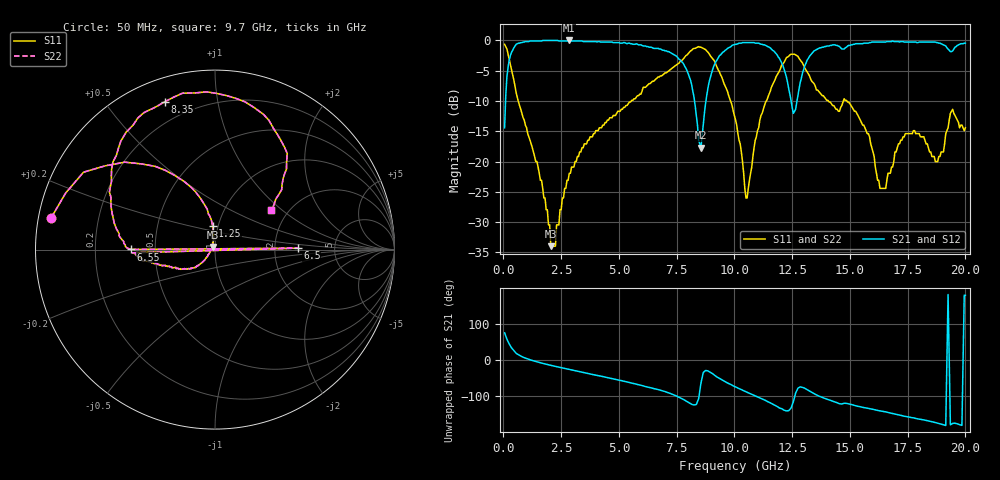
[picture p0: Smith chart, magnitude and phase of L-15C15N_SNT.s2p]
#	mhz	s	ma	r	50
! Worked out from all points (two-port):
!   400 points, 50 MHz to 20 GHz, reference 50 ohm
!   highest |S21| = 0.00 dB at 2.85 GHz (marker M1); lowest = -17.7 dB at 8.55 GHz (marker M2)
!   |S21| within 3 dB of the highest: 265.4 MHz to 7.58 GHz (7.315 GHz wide, 186 % of centre); 13.19 GHz to end of sweep (the widest 2 of 3)
!   lowest |S11| = -34.0 dB at 2.05 GHz (marker M3), VSWR 1.04, Z = 48.7 + j1.47 ohm
!   |S11| at or under -10 dB: 639.2 MHz to 5.531 GHz (4.892 GHz wide, 159 % of centre); 9.834 GHz to 11.38 GHz (1.547 GHz wide, 14.6 % of centre); 14.87 GHz to end of sweep (the widest 3 of 4)
!   |S22| runs from -34.0 to -0.6 dB; largest |S21 - S12| = 0
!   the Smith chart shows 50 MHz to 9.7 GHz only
!   S11 on the Smith chart (normalised r, x): 50 MHz: 0.04, +0.10; 1.25 GHz: 0.94, +0.25; 6.5 GHz: 2.70, +0.06; 6.55 GHz: 0.36, +0.00; 8.35 GHz: 0.11, +0.71; 9.7 GHz: 1.63, +0.84
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50  0.93 169.1  0.19 74.6  0.19 74.6  0.93 169.1
1250  0.13 95.5  0.99 -1.4  0.99 -1.4  0.13 95.5
2050  0.02 131.0  1 -14.7  1 -14.7  0.02 131.0
2850  0.08 -134.9  1 -26.1  1 -26.1  0.08 -134.9
3400  0.13 -136.6  0.99 -33.6  0.99 -33.6  0.13 -136.6
6500  0.46 1.0  0.86 -78.4  0.86 -78.4  0.46 1.0
6550  0.47 179.9  0.86 -79.2  0.86 -79.2  0.47 179.9
6700  0.5 178.0  0.86 -81.3  0.86 -81.3  0.5 178.0
8350  0.87 108.7  0.24 -122.2  0.24 -122.2  0.87 108.7
8550  0.88 93.0  0.13 -64.0  0.13 -64.0  0.88 93.0
9700  0.38 35.5  0.86 -63.1  0.86 -63.1  0.38 35.5
10050  0.22 30.0  0.93 -73.7  0.93 -73.7  0.22 30.0
13350  0.46 11.4  0.78 -89.2  0.78 -89.2  0.46 11.4
16700  0.08 95.2  0.98 -144.9  0.98 -144.9  0.08 95.2
19150  0.17 16.0  0.9 -179.8  0.9 -179.8  0.17 16.0
19200  0.18 6.6  0.87 0.0  0.87 0.0  0.18 6.6
19250  0.19 -2.8  0.85 179.7  0.85 179.7  0.19 -2.8
19300  0.22 -9.0  0.83 0.7  0.83 0.7  0.22 -9.0
19350  0.25 -15.1  0.81 -178.2  0.81 -178.2  0.25 -15.1
19850  0.2 -55.7  0.94 -179.6  0.94 -179.6  0.2 -55.7
19900  0.19 -54.2  0.94 -0.8  0.94 -0.8  0.19 -54.2
20000  0.19 -51.0  0.95 177.2  0.95 177.2  0.19 -51.0
